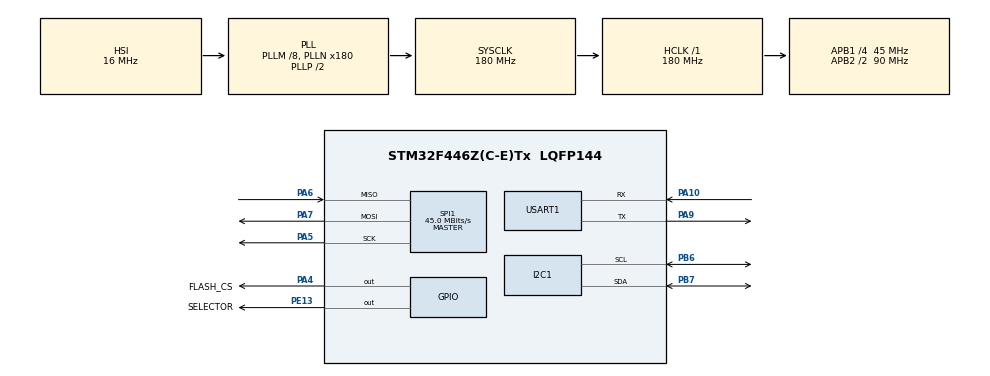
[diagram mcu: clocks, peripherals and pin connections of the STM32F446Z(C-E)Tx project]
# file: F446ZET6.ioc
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Mcu.Family=STM32F4
Mcu.Name=STM32F446Z(C-E)Tx
Mcu.Package=LQFP144
NVIC.PriorityGroup=NVIC_PRIORITYGROUP_4
PA10.Mode=Asynchronous
PA10.Signal=USART1_RX
PA13.Mode=Serial_Wire
PA13.Signal=SYS_JTMS-SWDIO
PA14.Mode=Serial_Wire
PA14.Signal=SYS_JTCK-SWCLK
PA4.GPIO_Label=FLASH_CS
PA4.Signal=GPIO_Output
PA5.Mode=Full_Duplex_Master
PA5.Signal=SPI1_SCK
PA6.Mode=Full_Duplex_Master
PA6.Signal=SPI1_MISO
PA7.Mode=Full_Duplex_Master
PA7.Signal=SPI1_MOSI
PA9.Mode=Asynchronous
PA9.Signal=USART1_TX
PB6.Mode=I2C
PB6.Signal=I2C1_SCL
PB7.Mode=I2C
PB7.Signal=I2C1_SDA
PE13.GPIO_Label=SELECTOR
PE13.Signal=GPIO_Output
ProjectManager.HeapSize=0x200
ProjectManager.StackSize=0x400
ProjectManager.TargetToolchain=STM32CubeIDE
RCC.AHBFreq_Value=180000000
RCC.APB1CLKDivider=RCC_HCLK_DIV4
RCC.APB1Freq_Value=45000000
RCC.APB1TimFreq_Value=90000000
RCC.APB2CLKDivider=RCC_HCLK_DIV2
RCC.APB2Freq_Value=90000000
RCC.APB2TimFreq_Value=180000000
RCC.CortexFreq_Value=180000000
RCC.HCLKFreq_Value=180000000
RCC.PLLM=8
RCC.PLLN=180
RCC.SYSCLKFreq_VALUE=180000000
RCC.SYSCLKSource=RCC_SYSCLKSOURCE_PLLCLK
RCC.USBFreq_Value=180000000
RCC.VCOOutputFreq_Value=360000000
SPI1.BaudRatePrescaler=SPI_BAUDRATEPRESCALER_2
SPI1.CalculateBaudRate=45.0 MBits/s
SPI1.Direction=SPI_DIRECTION_2LINES
SPI1.Mode=SPI_MODE_MASTER
SPI1.VirtualType=VM_MASTER
USART1.VirtualMode=VM_ASYNC
board=custom

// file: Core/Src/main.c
/* USER CODE BEGIN Header */
/**
  ******************************************************************************
  * @file           : main.c
  * @brief          : Main program body
  ******************************************************************************
  * @attention
  *
  * Copyright (c) 2023 STMicroelectronics.
  * All rights reserved.
  *
  * This software is licensed under terms that can be found in the LICENSE file
  * in the root directory of this software component.
  * If no LICENSE file comes with this software, it is provided AS-IS.
  *
  ******************************************************************************
  */
/* USER CODE END Header */
#include "main.h"

/* USER CODE BEGIN Includes */
#include <stdio.h>
#include "w25qxx.h"
#include "dummy_data.h"
#include <stdlib.h>
/* USER CODE END Includes */

I2C_HandleTypeDef hi2c1;

SPI_HandleTypeDef hspi1;

UART_HandleTypeDef huart1;

/* USER CODE BEGIN PV */
int RAND_NUM;
uint8_t buf[256];
int valid;
int error;
/* USER CODE END PV */

void SystemClock_Config(void);
static void MX_GPIO_Init(void);
static void MX_SPI1_Init(void);
static void MX_USART1_UART_Init(void);
static void MX_I2C1_Init(void);
/* USER CODE BEGIN PFP */
#ifdef __GNUC__
#define PUTCHAR_PROTOTYPE int __io_putchar(int ch)
#else
#define PUTCHAR_PROTOTYPE int fputc(int ch, FILE *f)
#endif

PUTCHAR_PROTOTYPE
{
  HAL_UART_Transmit(&huart1, (uint8_t *)&ch, 1, HAL_MAX_DELAY);
  return ch;
}
/* USER CODE END PFP */

int main(void)
{

  /* MCU Configuration--------------------------------------------------------*/

  /* Reset of all peripherals, Initializes the Flash interface and the Systick. */
  HAL_Init();

  /* Configure the system clock */
  SystemClock_Config();

  /* Initialize all configured peripherals */
  MX_GPIO_Init();
  MX_SPI1_Init();
  MX_USART1_UART_Init();
  MX_I2C1_Init();
  /* USER CODE BEGIN 2 */
  W25qxx_Init();

  if(w25qxx.ID == 7){
	  printf("ID		--> W25Q64\n\r");
  }else{
	  printf("ID		--> Other\n\r");
  }

  printf("Capacity	--> %lu Bytes\n\r", (w25qxx.CapacityInKiloByte)*1024);
  printf("Block		--> %lu Block, %lu Bytes each\n\r", w25qxx.BlockCount, w25qxx.BlockSize);
  printf("Sector		--> %lu Sector, %lu Bytes each\n\r", w25qxx.SectorCount, w25qxx.SectorSize);
  printf("Page		--> %lu Page, %hu Bytes each\n\n\r", w25qxx.PageCount, w25qxx.PageSize);

  printf("Clearing NOR\n\r");
  for(int i=0; i<2048; i++){
	  W25qxx_EraseSector(i);
  }

  printf("Writing to NOR\n\r");
  for(int i=0; i<32768; i++){
	  srand(i);
	  RAND_NUM = rand() % 8;

	  switch(RAND_NUM){
	  	  case	0	:	W25qxx_WritePage(dum_1, i, 0, 256); break;
	  	  case	1	:	W25qxx_WritePage(dum_2, i, 0, 256); break;
	  	  case	2	:	W25qxx_WritePage(dum_3, i, 0, 256); break;
	  	  case	3	:	W25qxx_WritePage(dum_4, i, 0, 256); break;
	  	  case	4	:	W25qxx_WritePage(dum_5, i, 0, 256); break;
	  	  case	5	:	W25qxx_WritePage(dum_6, i, 0, 256); break;
	  	  case	6	:	W25qxx_WritePage(dum_7, i, 0, 256); break;
	  	  case	7	:	W25qxx_WritePage(dum_8, i, 0, 256); break;
	  }
  }
  printf("Data Written to NOR\n\n\r");

  printf("Validating Data\n\r");
  for(int i=0; i<32768; i++){
	  W25qxx_ReadPage(buf, i, 0, 256);
	  switch(buf[0]){
	  	  case	0x01 :	for(int j=0; j<256; j++){
	  		  	  	  		if(buf[j] != dum_1[j]){
	  		  	  	  			printf("Data Number %d ERROR\n\r", i);
	  		  	  	  			error++;
	  		  	  	  			break;
	  		  	  	  		}
	  	  	  	  	  	}
	  	  	  	  	  	break;
	  	  case	0x02 :	for(int j=0; j<256; j++){
	  		  	  	  		if(buf[j] != dum_2[j]){
	  		  	  	  			printf("Data Number %d ERROR\n\r", i);
	  		  	  	  			error++;
	  		  	  	  			break;
	  		  	  	  		}
	  	  	  	  	  	}
	  	  	  	  	  	break;
	  	  case	0x03 :	for(int j=0; j<256; j++){
	  		  	  	  		if(buf[j] != dum_3[j]){
	  		  	  	  			printf("Data Number %d ERROR\n\r", i);
	  		  	  	  			error++;
	  		  	  	  			break;
	  		  	  	  		}
	  	  	  	  	  	}
	  	  	  	  	  	break;
	  	  case	0x04 :	for(int j=0; j<256; j++){
	  		  	  	  		if(buf[j] != dum_4[j]){
	  		  	  	  			printf("Data Number %d ERROR\n\r", i);
	  		  	  	  			error++;
	  		  	  	  			break;
	  		  	  	  		}
	  	  	  	  	  	}
	  	  	  	  	  	break;
	  	  case	0x05 :	for(int j=0; j<256; j++){
	  		  	  	  		if(buf[j] != dum_5[j]){
	  		  	  	  			printf("Data Number %d ERROR\n\r", i);
	  		  	  	  			error++;
	  		  	  	  			break;
	  		  	  	  		}
	  	  	  	  	  	}
	  	  	  	  	  	break;
	  	  case	0x06 :	for(int j=0; j<256; j++){
	  		  	  	  		if(buf[j] != dum_6[j]){
	  		  	  	  			printf("Data Number %d ERROR\n\r", i);
	  		  	  	  			error++;
	  		  	  	  			break;
	  		  	  	  		}
	  	  	  	  	  	}
	  	  	  	  	  	break;
	  	  case	0x07 :	for(int j=0; j<256; j++){
	  		  	  	  		if(buf[j] != dum_7[j]){
	  		  	  	  			printf("Data Number %d ERROR\n\r", i);
	  		  	  	  			error++;
	  		  	  	  			break;
	  		  	  	  		}
	  	  	  	  	  	}
	  	  	  	  	  	break;
	  	  case	0x08 :	for(int j=0; j<256; j++){
	  		  	  	  		if(buf[j] != dum_8[j]){
	  		  	  	  			printf("Data Number %d ERROR\n\r", i);
	  		  	  	  			error++;
	  		  	  	  			break;
	  		  	  	  		}
	  	  	  	  	  	}
	  	  	  	  	  	break;

	  }
	  printf("Data Number %d VALID\n\r", i);
	  valid++;
  }

  printf("\n\r+++ SUMMARY +++\n\r");
  printf("Data Error	: %d\n\r", error);
  printf("Data Valid	: %d\n\r", valid);
  printf("Error Rate	: %f\n\n\r", (error/valid)*100);
  /* USER CODE END 2 */

  /* Infinite loop */
  while (1)
  {

  }
}

void SystemClock_Config(void)
{
  RCC_OscInitTypeDef RCC_OscInitStruct = {0};
  RCC_ClkInitTypeDef RCC_ClkInitStruct = {0};

  /** Configure the main internal regulator output voltage
  */
  __HAL_RCC_PWR_CLK_ENABLE();
  __HAL_PWR_VOLTAGESCALING_CONFIG(PWR_REGULATOR_VOLTAGE_SCALE1);

  /** Initializes the RCC Oscillators according to the specified parameters
  * in the RCC_OscInitTypeDef structure.
  */
  RCC_OscInitStruct.OscillatorType = RCC_OSCILLATORTYPE_HSI;
  RCC_OscInitStruct.HSIState = RCC_HSI_ON;
  RCC_OscInitStruct.HSICalibrationValue = RCC_HSICALIBRATION_DEFAULT;
  RCC_OscInitStruct.PLL.PLLState = RCC_PLL_ON;
  RCC_OscInitStruct.PLL.PLLSource = RCC_PLLSOURCE_HSI;
  RCC_OscInitStruct.PLL.PLLM = 8;
  RCC_OscInitStruct.PLL.PLLN = 180;
  RCC_OscInitStruct.PLL.PLLP = RCC_PLLP_DIV2;
  RCC_OscInitStruct.PLL.PLLQ = 2;
  RCC_OscInitStruct.PLL.PLLR = 2;
  if (HAL_RCC_OscConfig(&RCC_OscInitStruct) != HAL_OK)
  {
    Error_Handler();
  }

  /** Activate the Over-Drive mode
  */
  if (HAL_PWREx_EnableOverDrive() != HAL_OK)
  {
    Error_Handler();
  }

  /** Initializes the CPU, AHB and APB buses clocks
  */
  RCC_ClkInitStruct.ClockType = RCC_CLOCKTYPE_HCLK|RCC_CLOCKTYPE_SYSCLK
                              |RCC_CLOCKTYPE_PCLK1|RCC_CLOCKTYPE_PCLK2;
  RCC_ClkInitStruct.SYSCLKSource = RCC_SYSCLKSOURCE_PLLCLK;
  RCC_ClkInitStruct.AHBCLKDivider = RCC_SYSCLK_DIV1;
  RCC_ClkInitStruct.APB1CLKDivider = RCC_HCLK_DIV4;
  RCC_ClkInitStruct.APB2CLKDivider = RCC_HCLK_DIV2;

  if (HAL_RCC_ClockConfig(&RCC_ClkInitStruct, FLASH_LATENCY_5) != HAL_OK)
  {
    Error_Handler();
  }
}

static void MX_I2C1_Init(void)
{

  hi2c1.Instance = I2C1;
  hi2c1.Init.ClockSpeed = 100000;
  hi2c1.Init.DutyCycle = I2C_DUTYCYCLE_2;
  hi2c1.Init.OwnAddress1 = 90;
  hi2c1.Init.AddressingMode = I2C_ADDRESSINGMODE_7BIT;
  hi2c1.Init.DualAddressMode = I2C_DUALADDRESS_DISABLE;
  hi2c1.Init.OwnAddress2 = 0;
  hi2c1.Init.GeneralCallMode = I2C_GENERALCALL_DISABLE;
  hi2c1.Init.NoStretchMode = I2C_NOSTRETCH_DISABLE;
  if (HAL_I2C_Init(&hi2c1) != HAL_OK)
  {
    Error_Handler();
  }

}

static void MX_SPI1_Init(void)
{

  /* SPI1 parameter configuration*/
  hspi1.Instance = SPI1;
  hspi1.Init.Mode = SPI_MODE_MASTER;
  hspi1.Init.Direction = SPI_DIRECTION_2LINES;
  hspi1.Init.DataSize = SPI_DATASIZE_8BIT;
  hspi1.Init.CLKPolarity = SPI_POLARITY_LOW;
  hspi1.Init.CLKPhase = SPI_PHASE_1EDGE;
  hspi1.Init.NSS = SPI_NSS_SOFT;
  hspi1.Init.BaudRatePrescaler = SPI_BAUDRATEPRESCALER_2;
  hspi1.Init.FirstBit = SPI_FIRSTBIT_MSB;
  hspi1.Init.TIMode = SPI_TIMODE_DISABLE;
  hspi1.Init.CRCCalculation = SPI_CRCCALCULATION_DISABLE;
  hspi1.Init.CRCPolynomial = 10;
  if (HAL_SPI_Init(&hspi1) != HAL_OK)
  {
    Error_Handler();
  }

}

static void MX_USART1_UART_Init(void)
{

  huart1.Instance = USART1;
  huart1.Init.BaudRate = 115200;
  huart1.Init.WordLength = UART_WORDLENGTH_8B;
  huart1.Init.StopBits = UART_STOPBITS_1;
  huart1.Init.Parity = UART_PARITY_NONE;
  huart1.Init.Mode = UART_MODE_TX_RX;
  huart1.Init.HwFlowCtl = UART_HWCONTROL_NONE;
  huart1.Init.OverSampling = UART_OVERSAMPLING_16;
  if (HAL_UART_Init(&huart1) != HAL_OK)
  {
    Error_Handler();
  }

}

static void MX_GPIO_Init(void)
{
  GPIO_InitTypeDef GPIO_InitStruct = {0};

  /* GPIO Ports Clock Enable */
  __HAL_RCC_GPIOA_CLK_ENABLE();
  __HAL_RCC_GPIOE_CLK_ENABLE();
  __HAL_RCC_GPIOB_CLK_ENABLE();

  /*Configure GPIO pin Output Level */
  HAL_GPIO_WritePin(FLASH_CS_GPIO_Port, FLASH_CS_Pin, GPIO_PIN_RESET);

  /*Configure GPIO pin Output Level */
  HAL_GPIO_WritePin(SELECTOR_GPIO_Port, SELECTOR_Pin, GPIO_PIN_RESET);

  /*Configure GPIO pin : FLASH_CS_Pin */
  GPIO_InitStruct.Pin = FLASH_CS_Pin;
  GPIO_InitStruct.Mode = GPIO_MODE_OUTPUT_PP;
  GPIO_InitStruct.Pull = GPIO_NOPULL;
  GPIO_InitStruct.Speed = GPIO_SPEED_FREQ_LOW;
  HAL_GPIO_Init(FLASH_CS_GPIO_Port, &GPIO_InitStruct);

  /*Configure GPIO pin : SELECTOR_Pin */
  GPIO_InitStruct.Pin = SELECTOR_Pin;
  GPIO_InitStruct.Mode = GPIO_MODE_OUTPUT_PP;
  GPIO_InitStruct.Pull = GPIO_NOPULL;
  GPIO_InitStruct.Speed = GPIO_SPEED_FREQ_LOW;
  HAL_GPIO_Init(SELECTOR_GPIO_Port, &GPIO_InitStruct);

}

void Error_Handler(void)
{
  __disable_irq();
  while (1)
  {
  }
}
